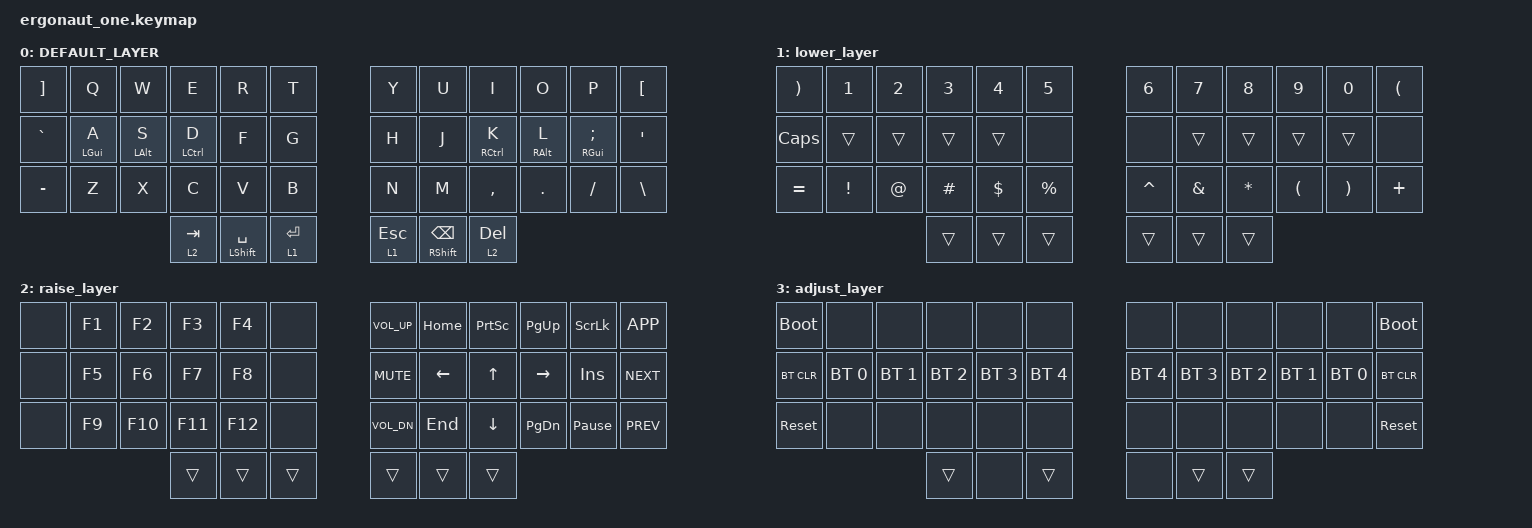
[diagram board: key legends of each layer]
#include <behaviors.dtsi>
#include <dt-bindings/zmk/bt.h>
#include <dt-bindings/zmk/keys.h>

#define DEF 0
#define LWR 1
#define RSE 2
#define ADJ 3

&lt { quick-tap-ms = <200>; };

&mt { quick-tap-ms = <200>; };

/ {
    conditional_layers {
        compatible = "zmk,conditional-layers";

        tri-layer {
            if-layers = <1 2>;
            then-layer = <3>;
        };
    };

    behaviors {
        hm: hm {
            compatible = "zmk,behavior-hold-tap";
            label = "Homerow Mod";
            bindings = <&kp>, <&kp>;

            #binding-cells = <2>;
            tapping-term-ms = <150>;
            quick-tap-ms = <0>;
            flavor = "tap-preferred";
        };

        shift: shift {
            compatible = "zmk,behavior-hold-tap";
            label = "SHIFT";
            bindings = <&kp>, <&kp>;

            #binding-cells = <2>;
            tapping-term-ms = <280>;
            flavor = "balanced";
            quick-tap-ms = <175>;
        };

        hml: hml {
            compatible = "zmk,behavior-hold-tap";
            label = "HML";
            bindings = <&kp>, <&kp>;

            #binding-cells = <2>;
            tapping-term-ms = <280>;
            quick-tap-ms = <175>;
            require-prior-idle-ms = <150>;
            hold-trigger-on-release;
            hold-trigger-key-positions = <6 7 8 9 10 11 18 19 20 21 22 23 30 31 32 33 34 35 39 40 41>;
            flavor = "balanced";
        };

        hmr: hmr {
            compatible = "zmk,behavior-hold-tap";
            label = "HMR";
            bindings = <&kp>, <&kp>;

            #binding-cells = <2>;
            tapping-term-ms = <280>;
            quick-tap-ms = <175>;
            require-prior-idle-ms = <150>;
            flavor = "balanced";
            hold-trigger-on-release;
            hold-trigger-key-positions = <0 1 2 3 4 5 12 13 14 15 16 17 24 25 26 27 28 29 36 37 38>;
        };
    };

    keymap {
        compatible = "zmk,keymap";

        DEFAULT_LAYER {
            bindings = <
&kp RBKT   &kp Q            &kp W            &kp E                &kp R                    &kp T        &kp Y         &kp U                         &kp I                 &kp O             &kp P                     &kp LBKT
&kp GRAVE  &hml LEFT_GUI A  &hml LEFT_ALT S  &hml LEFT_CONTROL D  &kp F                    &kp G        &kp H         &kp J                         &hmr RIGHT_CONTROL K  &hmr RIGHT_ALT L  &hmr RIGHT_GUI SEMICOLON  &kp SQT
&kp MINUS  &kp Z            &kp X            &kp C                &kp V                    &kp B        &kp N         &kp M                         &kp COMMA             &kp DOT           &kp FSLH                  &kp BSLH
                                             &lt 2 TAB            &shift LEFT_SHIFT SPACE  &lt 1 ENTER  &lt 1 ESCAPE  &shift RIGHT_SHIFT BACKSPACE  &lt 2 DELETE
            >;
        };

        lower_layer {
            bindings = <
&kp RPAR      &kp N1           &kp N2       &kp N3    &kp N4      &kp N5       &kp N6     &kp N7         &kp N8        &kp N9                &kp N0                 &kp LPAR
&kp CAPSLOCK  &trans           &trans       &trans    &trans      &none        &none      &trans         &trans        &trans                &trans                 &none
&kp EQUAL     &kp EXCLAMATION  &kp AT_SIGN  &kp HASH  &kp DOLLAR  &kp PERCENT  &kp CARET  &kp AMPERSAND  &kp ASTERISK  &kp LEFT_PARENTHESIS  &kp RIGHT_PARENTHESIS  &kp PLUS
                                            &trans    &trans      &trans       &trans     &trans         &trans
            >;
        };

        raise_layer {
            bindings = <
&none  &kp F1  &kp F2   &kp F3   &kp F4   &none   &kp C_VOL_UP  &kp HOME  &kp PSCRN  &kp PG_UP  &kp SLCK         &kp K_APP
&none  &kp F5  &kp F6   &kp F7   &kp F8   &none   &kp C_MUTE    &kp LEFT  &kp UP     &kp RIGHT  &kp INS          &kp C_NEXT
&none  &kp F9  &kp F10  &kp F11  &kp F12  &none   &kp C_VOL_DN  &kp END   &kp DOWN   &kp PG_DN  &kp PAUSE_BREAK  &kp C_PREV
                        &trans   &trans   &trans  &trans        &trans    &trans
            >;
        };

        adjust_layer {
            bindings = <
&bootloader  &none         &none         &none         &none         &none         &none         &none         &none         &none         &none         &bootloader
&bt BT_CLR   &bt BT_SEL 0  &bt BT_SEL 1  &bt BT_SEL 2  &bt BT_SEL 3  &bt BT_SEL 4  &bt BT_SEL 4  &bt BT_SEL 3  &bt BT_SEL 2  &bt BT_SEL 1  &bt BT_SEL 0  &bt BT_CLR
&sys_reset   &none         &none         &none         &none         &none         &none         &none         &none         &none         &none         &sys_reset
                                         &trans        &none         &trans        &none         &trans        &trans
            >;
        };
    };
};
